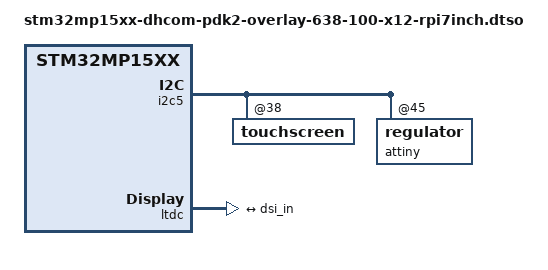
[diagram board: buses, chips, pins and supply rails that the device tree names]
// SPDX-License-Identifier: (GPL-2.0+ OR BSD-3-Clause)
/*
 * Copyright (C) 2020 Marek Vasut
 */
/dts-v1/;
/plugin/;

&i2c5 {
	#address-cells = <1>;
	#size-cells = <0>;

	touchscreen: touchscreen@38 {
	};

	attiny: regulator@45 {
	};
};

#include "stm32mp15xx-dhsom-overlay-panel-dsi-rpi7inch.dtsi"

&ltdc {
	status = "okay";
	port {
		ltdc_ep_out: endpoint {
			remote-endpoint = <&dsi_in>;
		};
	};
};
